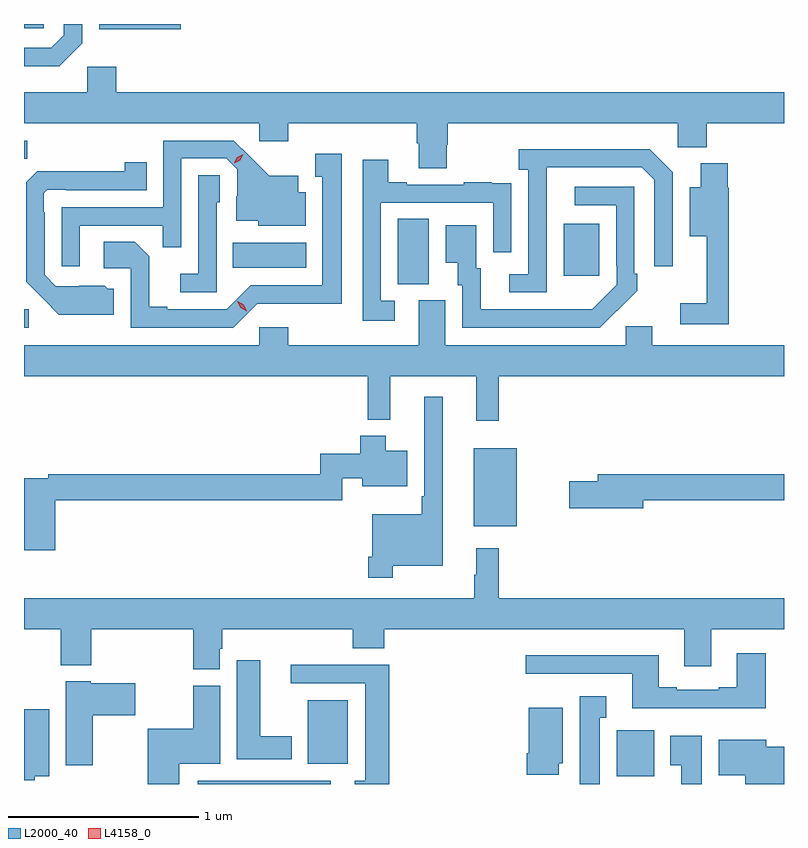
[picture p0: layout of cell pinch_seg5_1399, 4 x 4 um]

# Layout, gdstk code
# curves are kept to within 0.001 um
import gdstk
lib = gdstk.Library(unit=1e-6, precision=1e-09)
def R(c, l, rs):  # rectangles x0, y0, x1, y1
    for r in rs: c.add(gdstk.rectangle(r[:2], r[2:], *l))
def P(c, l, *ps):  # polygons
    for p in ps: c.add(gdstk.Polygon(p, *l))
L2000_40 = (2000, 40)
L4158_0 = (4158, 0)

pinch_seg5_1399 = lib.new_cell('pinch_seg5_1399')
R(pinch_seg5_1399, L2000_40, [(132.077,910.558,132.778,910.575), (134.282,910.598,134.479,910.84), (132.656,910.664,132.868,910.999), (133.529,911.915,133.756,912.325), (131.163,912.96,131.188,913.056), (133.13,913.189,133.294,913.532), (134.003,913.233,134.191,913.507), (132.262,913.274,132.649,913.408), (131.163,913.849,131.181,913.944), (131.558,914.53,131.989,914.558), (131.163,914.535,131.268,914.558)])
P(pinch_seg5_1399, L2000_40, [(131.469,914.457),(131.469,914.558),(131.373,914.558),(131.373,914.499),(131.307,914.433),(131.163,914.433),(131.163,914.336),(131.348,914.336)],
  [(133.389,913.923),(133.394,913.923),(133.394,914.036),(134.604,914.036),(134.604,913.91),(134.756,913.91),(134.756,914.036),(135.163,914.036),(135.163,914.2),(131.648,914.2),(131.648,914.332),(131.496,914.332),(131.496,914.2),(131.163,914.2),(131.163,914.036),(132.402,914.036),(132.402,913.941),(132.554,913.941),(132.554,914.036),(133.229,914.036),(133.229,913.93),(133.241,913.93),(133.241,913.798),(133.389,913.798)],
  [(131.457,913.497),(131.893,913.497),(131.893,913.384),(131.991,913.384),(131.991,913.851),(132.228,913.851),(132.285,913.794),(132.285,913.652),(132.281,913.652),(132.281,913.523),(132.396,913.523),(132.396,913.496),(132.646,913.496),(132.646,913.672),(132.607,913.672),(132.607,913.759),(132.455,913.759),(132.268,913.944),(131.895,913.944),(131.895,913.593),(131.361,913.593),(131.361,913.284),(131.457,913.284)],
  [(133.914,913.603),(133.915,913.803),(134.415,913.803),(134.481,913.737),(134.481,913.284),(134.577,913.284),(134.577,913.779),(134.456,913.9),(133.767,913.9),(133.767,913.79),(133.818,913.79),(133.818,913.242),(133.716,913.242),(133.716,913.146),(133.914,913.146)],
  [(132.39,913.086),(132.835,913.085),(132.835,913.876),(132.695,913.876),(132.695,913.755),(132.734,913.755),(132.734,913.182),(132.357,913.182),(132.231,913.056),(131.917,913.056),(131.917,913.069),(131.823,913.069),(131.823,913.336),(131.747,913.412),(131.583,913.412),(131.583,913.272),(131.724,913.272),(131.724,912.96),(132.264,912.96)],
  [(133.114,913.101),(133.041,913.101),(133.041,913.617),(133.632,913.617),(133.632,913.356),(133.728,913.356),(133.728,913.61),(133.727,913.61),(133.727,913.719),(133.625,913.719),(133.625,913.726),(133.477,913.726),(133.477,913.713),(133.177,913.713),(133.177,913.726),(133.081,913.726),(133.081,913.843),(132.945,913.843),(132.945,912.996),(133.114,912.996)],
  [(131.635,913.164),(131.604,913.164),(131.588,913.18),(131.331,913.179),(131.271,913.239),(131.271,913.568),(131.268,913.568),(131.268,913.668),(131.286,913.686),(131.386,913.686),(131.386,913.683),(131.81,913.683),(131.81,913.831),(131.692,913.831),(131.692,913.784),(131.234,913.783),(131.175,913.724),(131.175,913.202),(131.347,913.028),(131.635,913.028)],
  [(134.873,913.695),(134.867,913.695),(134.867,913.825),(134.726,913.825),(134.726,913.699),(134.666,913.699),(134.666,913.442),(134.756,913.442),(134.756,913.087),(134.616,913.087),(134.616,912.978),(134.873,912.978)],
  [(132.177,913.62),(132.192,913.62),(132.192,913.763),(132.081,913.763),(132.081,913.243),(131.985,913.243),(131.985,913.146),(132.177,913.146)],
  [(134.285,913.051),(134.286,913.05),(134.391,913.155),(134.391,913.243),(134.376,913.243),(134.376,913.701),(134.061,913.701),(134.061,913.605),(134.28,913.605),(134.28,913.285),(134.283,913.285),(134.283,913.185),(134.155,913.057),(133.567,913.056),(133.567,913.272),(133.543,913.272),(133.543,913.498),(133.382,913.498),(133.382,913.301),(133.445,913.301),(133.445,913.182),(133.47,913.182),(133.47,912.96),(134.194,912.96)],
  [(133.661,912.704),(135.163,912.704),(135.163,912.868),(134.47,912.868),(134.47,912.966),(134.331,912.966),(134.331,912.868),(133.381,912.868),(133.381,913.104),(133.241,913.104),(133.241,912.868),(132.554,912.868),(132.554,912.961),(132.402,912.961),(132.402,912.868),(131.163,912.868),(131.163,912.704),(132.973,912.704),(132.973,912.476),(133.091,912.476),(133.091,912.704),(133.544,912.704),(133.544,912.471),(133.661,912.471)],
  [(133.105,911.708),(133.366,911.708),(133.366,912.595),(133.269,912.595),(133.269,912.073),(133.257,912.073),(133.257,911.977),(132.996,911.977),(132.996,911.755),(132.976,911.755),(132.976,911.643),(133.105,911.643)],
  [(131.327,912.052),(132.837,912.052),(132.837,912.166),(132.944,912.166),(132.944,912.125),(133.18,912.125),(133.18,912.313),(133.066,912.313),(133.066,912.391),(132.932,912.391),(132.932,912.295),(132.721,912.295),(132.721,912.188),(131.29,912.188),(131.29,912.168),(131.163,912.168),(131.163,911.787),(131.327,911.787)],
  [(134.422,912.052),(135.163,912.052),(135.163,912.188),(134.183,912.188),(134.183,912.152),(134.034,912.152),(134.034,912.01),(134.422,912.01)],
  [(132.193,911.271),(132.206,911.271),(132.206,911.372),(132.893,911.372),(132.893,911.273),(133.058,911.273),(133.058,911.372),(134.639,911.372),(134.639,911.178),(134.779,911.178),(134.779,911.372),(135.163,911.372),(135.163,911.536),(133.661,911.536),(133.661,911.8),(133.544,911.8),(133.544,911.66),(133.533,911.66),(133.533,911.536),(131.163,911.536),(131.163,911.372),(131.356,911.372),(131.356,911.183),(131.516,911.183),(131.516,911.372),(132.053,911.372),(132.053,911.161),(132.193,911.161)],
  [(135.068,911.245),(134.915,911.245),(134.915,911.068),(134.819,911.068),(134.819,911.055),(134.599,911.055),(134.599,911.068),(134.503,911.068),(134.503,911.236),(133.803,911.236),(133.803,911.139),(134.363,911.139),(134.363,910.958),(135.068,910.958)],
  [(132.571,910.81),(132.406,910.81),(132.406,911.209),(132.284,911.209),(132.284,910.688),(132.571,910.688)],
  [(133.085,911.186),(132.567,911.186),(132.567,911.088),(132.959,911.088),(132.959,910.576),(132.905,910.576),(132.905,910.558),(133.085,910.558)],
  [(131.526,910.919),(131.749,910.919),(131.749,911.089),(131.514,911.089),(131.514,911.098),(131.384,911.098),(131.384,910.656),(131.526,910.656)],
  [(131.98,910.664),(132.196,910.664),(132.196,911.076),(132.055,911.076),(132.055,910.849),(131.815,910.849),(131.815,910.558),(131.98,910.558)],
  [(134.194,910.907),(134.227,910.907),(134.227,911.02),(134.087,911.02),(134.087,910.558),(134.194,910.558)],
  [(133.978,910.668),(133.999,910.668),(133.999,910.96),(133.82,910.96),(133.82,910.72),(133.808,910.72),(133.808,910.608),(133.978,910.608)],
  [(131.22,910.598),(131.296,910.598),(131.296,910.951),(131.163,910.951),(131.163,910.577),(131.22,910.577)],
  [(134.731,910.813),(134.564,910.813),(134.564,910.657),(134.621,910.657),(134.621,910.558),(134.731,910.558)],
  [(135.163,910.753),(135.07,910.753),(135.07,910.792),(134.819,910.792),(134.819,910.604),(134.96,910.604),(134.96,910.558),(135.163,910.558)])
P(pinch_seg5_1399, L4158_0, [(132.269,913.826),(132.269,913.827),(132.286,913.856),(132.316,913.872),(132.316,913.872),(132.316,913.872),(132.3,913.842),(132.27,913.826)],
  [(132.336,913.047),(132.304,913.065),(132.286,913.098),(132.286,913.098),(132.287,913.098),(132.319,913.08),(132.336,913.047),(132.336,913.047)])

lib.write_gds('pinch_seg5_1399.gds')
